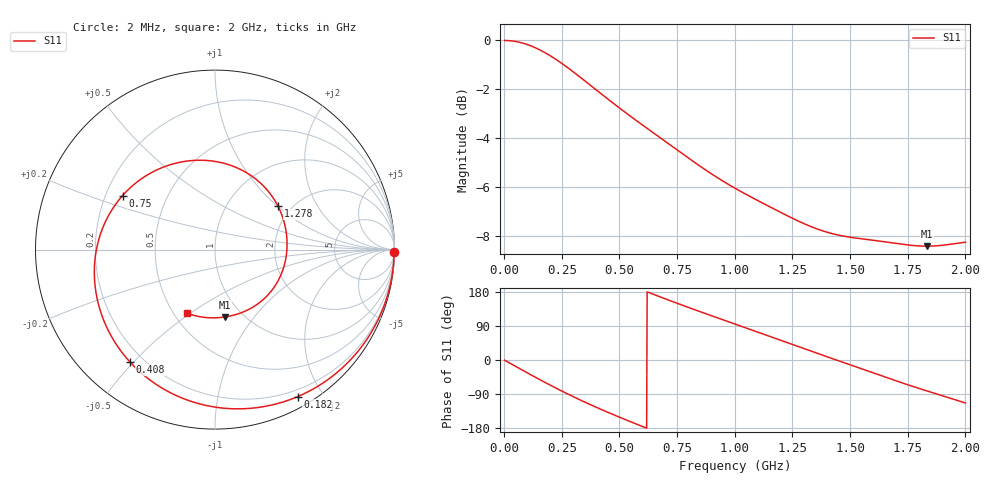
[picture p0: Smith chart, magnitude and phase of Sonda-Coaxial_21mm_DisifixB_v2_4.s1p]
! TOUCHSTONE file generated by CST MICROWAVE STUDIO
! Date and time: Tue Jul 28 21:58:50 2026
! Project name: Sonda-Coaxial_21mm_DisifixB_v2.cst
! Parameters = {h_recipiente=5; l_conector=50; r_arandela=35; r_ext=10.5; r_int=3; r_recipiente=100; z_recipiente=-80}
! Header version: 2018
! Port assignment regex: !\s*Touchstone port\s*([0-9]+)\s*=\s*(CST MWS port|CST DS port)\s*([0-9]+|Zmin|Zmax)\s*\(\"(.*)\"\)(\s*mode\s*([0-9]+))?.*
! Touchstone port assignment:
! Touchstone port 1 = CST MWS port 1 ("")
# GHz S RI R 50
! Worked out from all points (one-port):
!   1000 points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, 2 MHz to 2 GHz, reference 50 ohm
!   lowest |S11| = -8.4 dB at 1.832 GHz (marker M1), VSWR 2.22, Z = 41.6 - j36.4 ohm
!   |S11| at or under -10 dB: nowhere
!   S11 on the Smith chart (normalised r, x): 2 MHz: open; 182 MHz: 0.12, -1.70; 408 MHz: 0.15, -0.49; 750 MHz: 0.27, +0.25; 1.278 GHz: 1.70, +1.01; 2 GHz: 0.58, -0.49
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0.002  0.9981 -0.0119
0.042  0.964 -0.2455
0.082  0.8717 -0.4596
0.134  0.6812 -0.6836
0.182  0.4601 -0.8193
0.216  0.2923 -0.871
0.252  0.1159 -0.8872
0.322  -0.194 -0.8227
0.366  -0.3529 -0.7336
0.408  -0.4739 -0.626
0.454  -0.5718 -0.4929
0.502  -0.6373 -0.3464
0.558  -0.6706 -0.1756
0.616  -0.6622 -0.00831
0.68  -0.6104 0.1556
0.75  -0.5149 0.3011
0.752  -0.5117 0.3047
0.874  -0.2897 0.4589
1.002  -0.0407 0.4962
1.118  0.1626 0.4359
1.252  0.3296 0.2794
1.278  0.3507 0.2425
1.388  0.3991 0.0785
1.502  0.3852 -0.09
1.636  0.2891 -0.2589
1.752  0.1565 -0.3478
1.832  0.0571 -0.375
2  -0.1534 -0.3547
